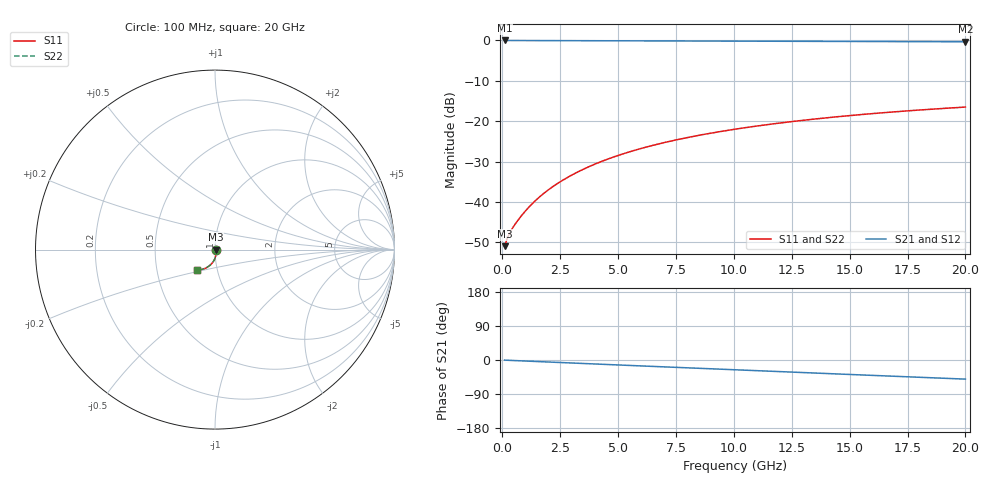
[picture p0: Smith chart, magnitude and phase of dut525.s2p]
! Touchstone file exported from HFSS 2026.1.0
!  File:  C:/ffzhzh/LocalFiles/Ansys_Project_Files/temp_train_TMRDL_525_1783007173_55676.aedt
!  Generated:  11:47:44 PM Jul  2, 2026
!  Design:  TMRDL
!  Project:  temp_train_TMRDL_525_1783007173_55676
! Variables:
!  h_bsmrdl = 2um
!  h_ox = 20um
!  h_rdl = 5um
!  h_sub = 80um
!  h_tmrdl = 5.14um
!  h_tsv = 80um
!  h_via = 3um
!  l_bsmrdl = 300um
!  l_sub = 1299.29um
!  l_tmrdl = 899.29um
!  m_sub = 200um
!  pitch = 29.36um
!  r_tsv = 6um
!  s_tmrdl = 10um
!  w_bsmrdl = 18um
!  w_sub = 500um
!  w_tmrdl = 25.93um
!  x_tsv_center1 = 912.255um
!  x_tsv_center2 = 1230.255um
!  x_tsv_center3 = 2155.475um
!  x_tsv_center4 = 2473.475um
!  x_tsv_center5 = 3398.695um
!  x_tsv_center6 = 3716.695um
# GHz S MA R 50.000000
! Terminal data exported
! Port[1] = TM_RDL1_1_T1
! Port[2] = TM_RDL1_1_T2
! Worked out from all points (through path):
!   200 points, 100 MHz to 20 GHz, reference 50 ohm
!   highest |S21| = -0.02 dB at 100 MHz (marker M1); lowest = -0.4 dB at 20 GHz (marker M2)
!   group delay of S21, straight-line fit = 6.98 ps
!   lowest |S11| = -50.9 dB at 100 MHz (marker M3), VSWR 1.01, Z = 50.3 + j0.0211 ohm
!   |S11| at or under -10 dB: start of sweep to end of sweep
!   |S22| runs from -50.9 to -16.5 dB; largest |S21 - S12| = 8.1e-15
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0.1  0.002835 4.2  0.9972 -0.3  0.9972 -0.3  0.002835 4.2
! Gamma 0 0 0 0
! Port Impedance 50 0 50 0
0.2  0.003443 -0.6  0.9966 -0.6  0.9966 -0.6  0.003443 -0.6
0.3  0.004016 -9.1  0.996 -0.9  0.996 -0.9  0.004016 -9.1
0.4  0.004534 -17.5  0.9957 -1.1  0.9957 -1.1  0.004534 -17.5
0.5  0.005035 -25.0  0.9954 -1.4  0.9954 -1.4  0.005035 -25.0
0.7  0.006063 -36.9  0.9951 -1.9  0.9951 -1.9  0.006062 -36.9
0.9  0.007161 -45.5  0.9948 -2.5  0.9948 -2.5  0.00716 -45.5
1.3  0.009554 -56.7  0.9943 -3.5  0.9943 -3.5  0.009552 -56.7
1.8  0.01282 -64.8  0.9936 -4.8  0.9936 -4.8  0.01282 -64.8
2.3  0.01632 -70.0  0.9927 -6.1  0.9927 -6.1  0.01631 -70.0
2.9  0.02075 -74.4  0.9916 -7.7  0.9916 -7.7  0.02075 -74.4
3.5  0.0254 -77.9  0.9904 -9.3  0.9904 -9.3  0.0254 -77.9
4.2  0.03101 -81.3  0.989 -11.1  0.989 -11.1  0.03101 -81.4
5  0.0376 -84.9  0.9875 -13.1  0.9875 -13.1  0.03759 -84.9
5.9  0.04512 -88.5  0.9858 -15.4  0.9858 -15.4  0.04511 -88.6
6.8  0.05267 -91.9  0.9841 -17.7  0.9841 -17.7  0.05267 -92.0
8.3  0.06519 -97.2  0.9815 -21.5  0.9815 -21.5  0.06519 -97.3
10.1  0.07991 -103.1  0.9783 -26.0  0.9783 -26.0  0.0799 -103.2
11.7  0.09258 -108.0  0.9755 -30.0  0.9755 -30.0  0.09257 -108.1
13.4  0.1055 -113.0  0.9724 -34.2  0.9724 -34.2  0.1055 -113.1
16.7  0.1289 -122.2  0.9663 -42.4  0.9663 -42.4  0.1288 -122.4
20  0.1494 -131.0  0.9602 -50.5  0.9602 -50.5  0.1494 -131.2
